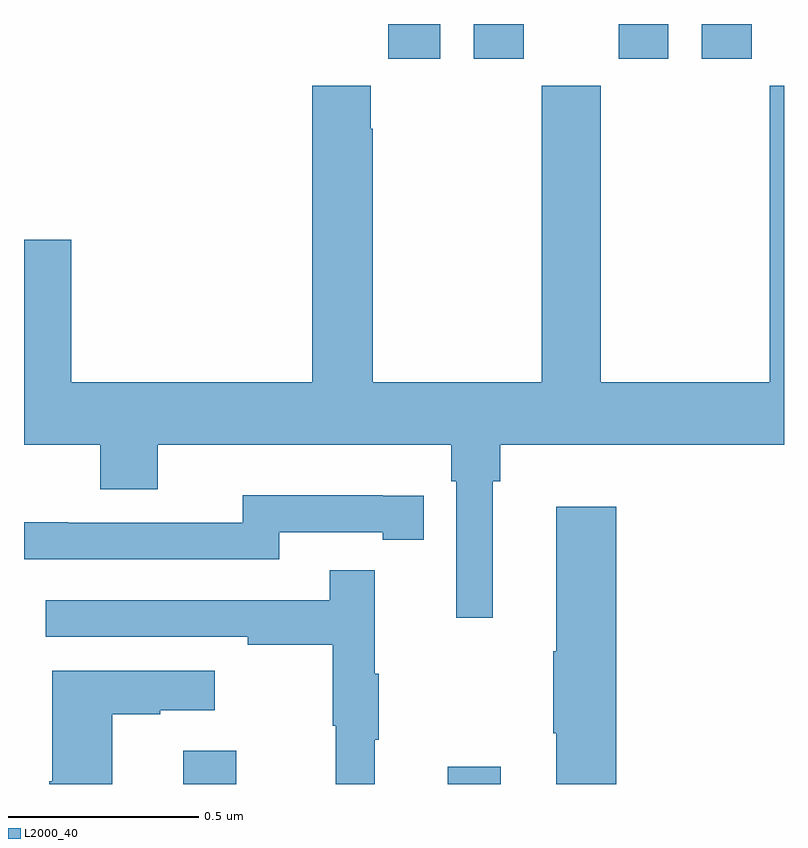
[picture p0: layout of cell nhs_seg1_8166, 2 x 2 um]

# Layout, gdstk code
import gdstk
lib = gdstk.Library(unit=1e-6, precision=1e-09)
def R(c, l, rs):  # rectangles x0, y0, x1, y1
    for r in rs: c.add(gdstk.rectangle(r[:2], r[2:], *l))
def P(c, l, *ps):  # polygons
    for p in ps: c.add(gdstk.Polygon(p, *l))
L2000_40 = (2000, 40)

nhs_seg1_8166 = lib.new_cell('nhs_seg1_8166')
R(nhs_seg1_8166, L2000_40, [(213.419,524.199,213.559,524.287), (214.115,524.199,214.255,524.245), (213.959,526.107,214.096,526.199), (214.184,526.107,214.315,526.199), (214.565,526.107,214.696,526.199), (214.784,526.107,214.915,526.199)])
P(nhs_seg1_8166, L2000_40, [(214.234,524.996),(214.253,524.996),(214.253,525.092),(215,525.092),(215,526.036),(214.963,526.036),(214.963,525.256),(214.518,525.256),(214.518,526.036),(214.363,526.036),(214.363,525.256),(213.918,525.256),(213.918,525.923),(213.913,525.923),(213.913,526.036),(213.758,526.036),(213.758,525.256),(213.124,525.256),(213.124,525.631),(213,525.631),(213,525.092),(213.2,525.092),(213.2,524.975),(213.352,524.975),(213.352,525.092),(214.124,525.092),(214.124,524.996),(214.137,524.996),(214.137,524.637),(214.234,524.637)],
  [(213.672,524.862),(213.944,524.862),(213.944,524.842),(214.052,524.842),(214.052,524.958),(213.944,524.958),(213.944,524.959),(213.576,524.959),(213.576,524.886),(213.116,524.886),(213.116,524.888),(213,524.888),(213,524.79),(213.672,524.79)],
  [(214.559,524.929),(214.4,524.929),(214.4,524.549),(214.393,524.549),(214.393,524.332),(214.4,524.332),(214.4,524.199),(214.559,524.199)],
  [(213.923,524.315),(213.934,524.315),(213.934,524.489),(213.923,524.489),(213.923,524.761),(213.805,524.761),(213.805,524.682),(213.057,524.682),(213.057,524.586),(213.589,524.586),(213.589,524.566),(213.813,524.566),(213.813,524.352),(213.82,524.352),(213.82,524.199),(213.923,524.199)],
  [(213.232,524.383),(213.359,524.383),(213.359,524.393),(213.502,524.393),(213.502,524.497),(213.074,524.497),(213.074,524.206),(213.067,524.206),(213.067,524.199),(213.232,524.199)])

lib.write_gds('nhs_seg1_8166.gds')
